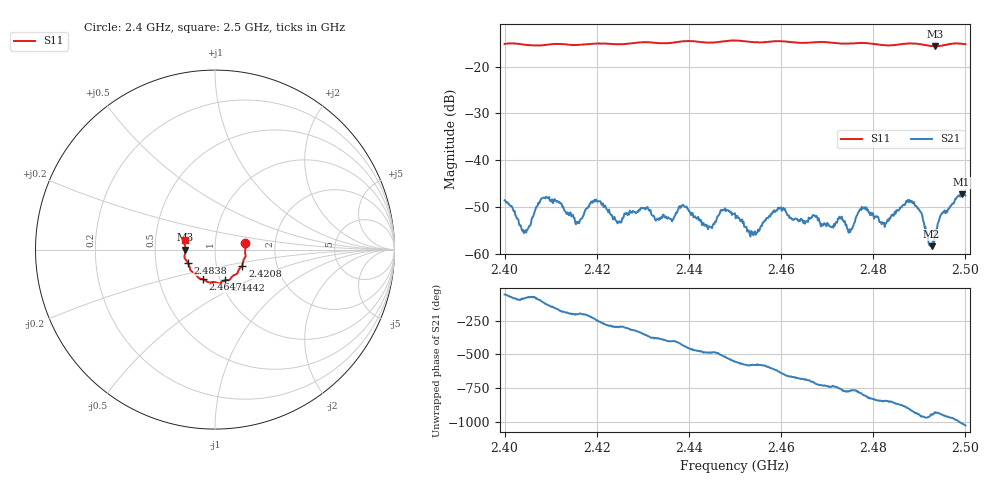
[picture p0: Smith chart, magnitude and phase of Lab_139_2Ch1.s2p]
# Hz S RI R 50
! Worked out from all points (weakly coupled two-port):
!   601 points, 2.4 GHz to 2.5 GHz, reference 50 ohm
!   highest |S21| = -47.25 dB at 2.4992 GHz (marker M1); lowest = -58.3 dB at 2.4927 GHz (marker M2)
!   lowest |S11| = -15.7 dB at 2.4933 GHz (marker M3), VSWR 1.39, Z = 35.9 - j0.0157 ohm
!   |S11| at or under -10 dB: start of sweep to end of sweep
!   S12 and S22 are empty: the file has one direction only
!   S11 on the Smith chart (normalised r, x): 2.4 GHz: 1.40, +0.11; 2.4208 GHz: 1.33, -0.25; 2.4442 GHz: 1.05, -0.37; 2.4647 GHz: 0.83, -0.28; 2.4838 GHz: 0.73, -0.11; 2.5 GHz: 0.71, +0.08
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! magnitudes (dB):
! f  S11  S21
! 2.4 GHz  -15.2  -48.5
! 2.4043 GHz  -15.3  -55.2
! 2.4085 GHz  -15.4  -48.0
! 2.4167 GHz  -15.3  -52.5
! 2.4208 GHz  -15.1  -48.8
! 2.4248 GHz  -15.3  -53.3
! 2.4305 GHz  -14.8  -50.5
! 2.4333 GHz  -15.0  -52.5
! 2.439 GHz  -14.6  -49.8
! 2.4442 GHz  -14.9  -54.7
! 2.45 GHz  -14.4  -51.3
! 2.4537 GHz  -14.8  -55.3
! 2.4595 GHz  -14.6  -50.1
! 2.4647 GHz  -15.0  -52.8
! 2.4667 GHz  -14.9  -52.3
! 2.4833 GHz  -15.5  -52.9
! 2.4838 GHz  -15.5  -52.1
! 2.4883 GHz  -15.1  -48.7
! 2.4927 GHz  -15.6  -58.3
! 2.4933 GHz  -15.7  -56.1
! 2.4992 GHz  -15.1  -47.2
! 2.5 GHz  -15.2  -47.5
